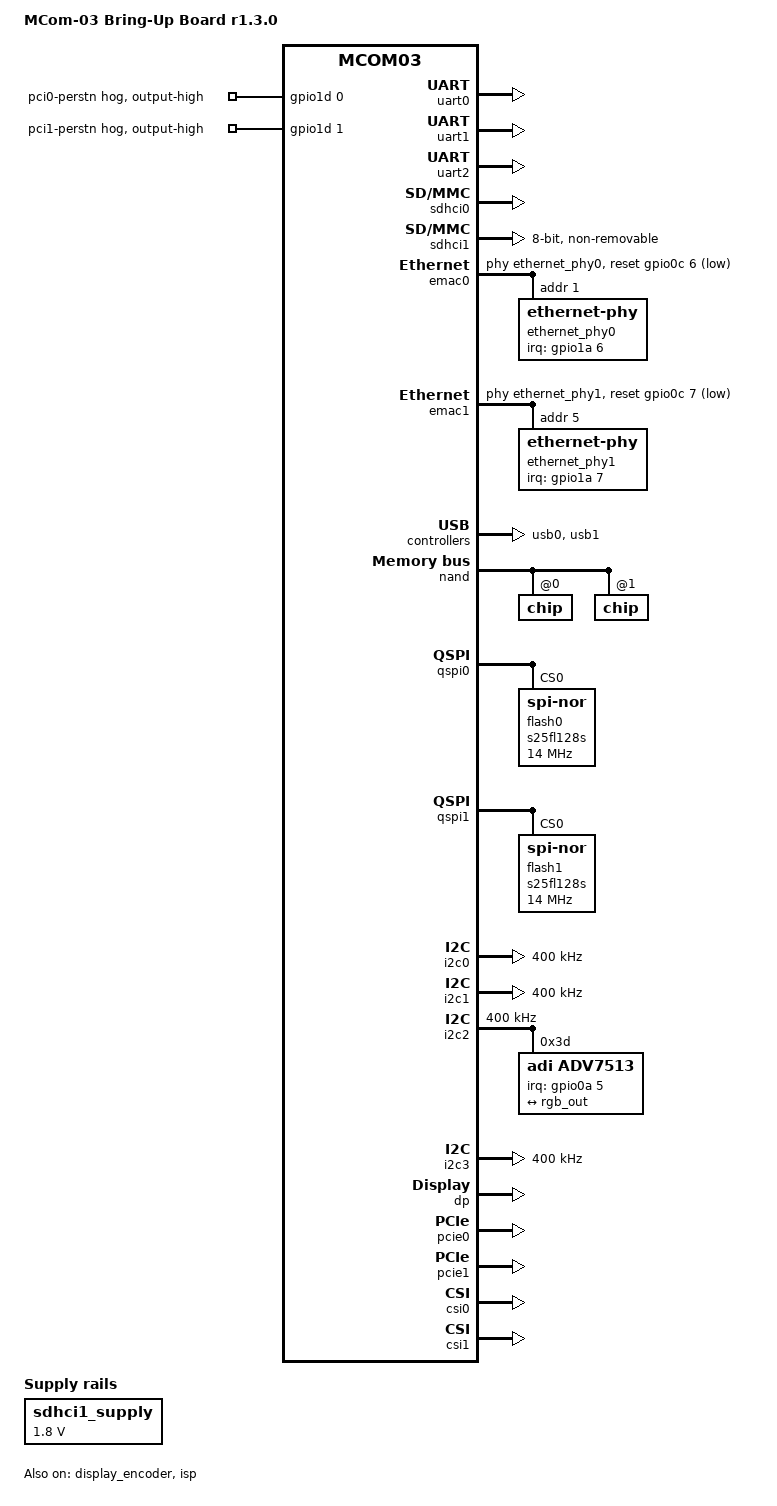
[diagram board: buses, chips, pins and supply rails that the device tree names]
// SPDX-License-Identifier: GPL-2.0+
/*
 * Copyright 2021 RnD Center "ELVEES", JSC
 */

/dts-v1/;

#include <dt-bindings/gpio/gpio.h>

#include "mcom03.dtsi"

/ {
	model = "MCom-03 Bring-Up Board r1.3.0";
	compatible = "elvees,mcom03-bub-r1.3.0",
		     "elvees,mcom03-bub",
		     "elvees,mcom03";

	adv7513_cec_clk: adv7513_cec_clk {
		#clock-cells = <0>;
		compatible = "fixed-clock";
		clock-frequency = <12000000>;
	};

	chosen {
		stdout-path = "serial0:115200n8";
		bootargs = "earlycon console=ttyS0,115200";
	};

	sdhci1_supply: regulator@0 {
		compatible = "regulator-fixed";
		regulator-name = "sdhci1-supply";
		regulator-min-microvolt = <1800000>;
		regulator-max-microvolt = <1800000>;
		regulator-always-on;
	};
};

&uart0 {
	status = "okay";
};

/* Wired to PBD connector */
&uart1 {
	status = "okay";
};

/* Wired to PBD connector */
&uart2 {
	status = "okay";
};

&sdhci0 {
	status = "okay";

	/* Disable 1.8V support
	 * Disable SDR50, SDR104 and DDR50 support
	 */
	sdhci-caps-mask = <0x7 0x4000000>;
	sdhci-caps = <0x0 0x0>;
};

&sdhci1 {
	status = "okay";
	non-removable;
	bus-width = <8>;
	vqmmc-supply = <&sdhci1_supply>;
};

&emac0_default {
	tx_data {
		groups = "emac0_tx";
		drive-strength = <12>;
	};

	txc {
		pins = "EMAC0_RGMII_TXC";
		drive-strength = <8>;
	};
};

&emac0 {
	status = "okay";
	phy-handle = <&ethernet_phy0>;
	reset-gpios = <&gpio0c 6 GPIO_ACTIVE_LOW>;

	/* Use large delays because 10 uF capacitor is connected to reset pin.
	 */
	reset-delay-us = <1000>;
	reset-post-delay-us = <200000>;

	ethernet_phy0: ethernet-phy@1 {
		reg = <0x1>;

		/* This is max GTX_CLK skew (0b11111 * 60ps/step)
		 * for KSZ9031 Ethernet PHY
		 */
		txc-skew-ps = <1860>;
		interrupt-parent = <&gpio1a>;
		interrupts = <6 IRQ_TYPE_LEVEL_LOW>;
	};
};

&emac1_default {
	tx_data {
		groups = "emac1_tx";
		drive-strength = <12>;
	};

	txc {
		pins = "EMAC1_RGMII_TXC";
		drive-strength = <8>;
	};
};

&emac1 {
	status = "okay";
	phy-handle = <&ethernet_phy1>;
	reset-gpios = <&gpio0c 7 GPIO_ACTIVE_LOW>;

	/* Use large delays because 10 uF capacitor is connected to reset pin.
	 */
	reset-delay-us = <1000>;
	reset-post-delay-us = <200000>;

	ethernet_phy1: ethernet-phy@5 {
		reg = <0x5>;

		/* This is max GTX_CLK skew (0b11111 * 60ps/step)
		 * for KSZ9031 Ethernet PHY
		 */
		txc-skew-ps = <1860>;
		interrupt-parent = <&gpio1a>;
		interrupts = <7 IRQ_TYPE_LEVEL_LOW>;
	};
};

&usb0 {
	status = "okay";
};

&usb1 {
	status = "okay";
};

&nand {
	status = "okay";
	chip@0 {
		reg = <0>;
		nand-ecc-mode="hw";
	};
	chip@1 {
		reg = <1>;
		nand-ecc-mode="hw";
	};
};

&qspi0 {
	status = "okay";

	flash0: s25fl128s@0 {
		#address-cells = <1>;
		#size-cells = <1>;
		compatible = "jedec,spi-nor", "spi-flash";
		reg = <0x0>;
		/* The data transfer is not stable at a higher frequency on
		 * MCom-03 BuB with SPI flash connected via PLS. */
		spi-max-frequency = <14000000>;
	};
};

&qspi1 {
	status = "okay";

	flash1: s25fl128s@0 {
		#address-cells = <1>;
		#size-cells = <1>;
		compatible = "jedec,spi-nor", "spi-flash";
		reg = <0x0>;
		/* The data transfer is not stable at a higher frequency on
		 * MCom-03 BuB with SPI flash connected via PLS. */
		spi-max-frequency = <14000000>;
	};
};

&i2c0 {
	clock-frequency = <400000>;
	status = "okay";

	pinctrl-0 = <&i2c0_mux_data &i2c0_mux_smbalert &i2c0_mux_smbus>;
};

&i2c1 {
	clock-frequency = <400000>;
	status = "okay";
};

&i2c2 {
	clock-frequency = <400000>;
	status = "okay";

	adv7513: hdmi@3d {
		compatible = "adi,adv7513";
		reg = <0x3d>, <0x3f>;
		reg-names = "main", "edid";
		interrupt-parent = <&gpio0a>;
		interrupts = <5 IRQ_TYPE_EDGE_FALLING>;
		clocks = <&adv7513_cec_clk>;
		clock-names = "cec";
		adi,input-depth = <8>;
		adi,input-colorspace = "rgb";
		adi,input-clock = "1x";
		#address-cells = <1>;
		#size-cells = <0>;

		port@0 {
			reg = <0>;
			adv7513_in: endpoint {
				remote-endpoint = <&rgb_out>;
			};
		};
	};
};

&i2c3 {
	clock-frequency = <400000>;
	status = "okay";
};

&dp {
	status = "okay";
};

&display_encoder {
	status = "okay";
	video-output = "rgb";

	ports {
		port@2 {
			reg = <2>;

			rgb_out: endpoint {
				remote-endpoint = <&adv7513_in>;
			};
		};
	};
};

&pcie0 {
	status = "okay";
};

&pcie1 {
	status = "okay";
};

&isp {
	status = "okay";
};

/* For MCom-03 BuB r1.5 */
&gpio1d {
	pci0-perstn {
		gpio-hog;
		gpios = <0 GPIO_ACTIVE_HIGH>;
		output-high;
	};
	pci1-perstn {
		gpio-hog;
		gpios = <1 GPIO_ACTIVE_HIGH>;
		output-high;
	};
};

&csi0 {
	status = "okay";
	reset_gpio = <&gpio0a 4 GPIO_ACTIVE_HIGH>;
	pwdn_gpio = <&gpio0a 5 GPIO_ACTIVE_HIGH>;
};

&csi1 {
	status = "okay";
	reset_gpio = <&gpio0a 4 GPIO_ACTIVE_HIGH>;
	pwdn_gpio = <&gpio0a 5 GPIO_ACTIVE_HIGH>;
};
